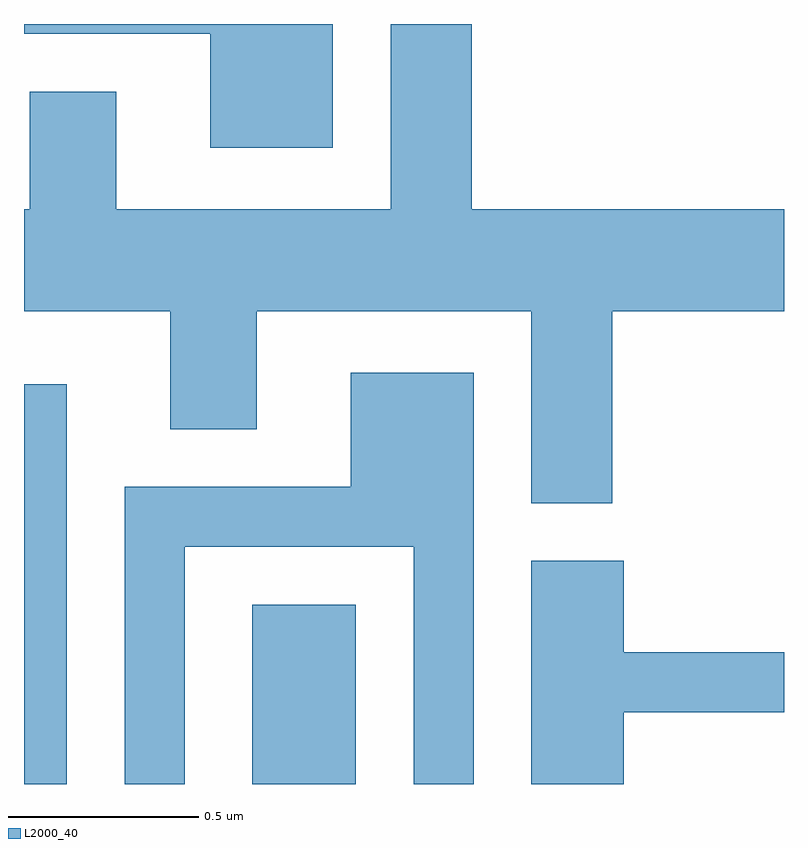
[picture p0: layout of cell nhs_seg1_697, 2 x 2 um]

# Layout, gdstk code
import gdstk
lib = gdstk.Library(unit=1e-6, precision=1e-09)
def R(c, l, rs):  # rectangles x0, y0, x1, y1
    for r in rs: c.add(gdstk.rectangle(r[:2], r[2:], *l))
def P(c, l, *ps):  # polygons
    for p in ps: c.add(gdstk.Polygon(p, *l))
L2000_40 = (2000, 40)

nhs_seg1_697 = lib.new_cell('nhs_seg1_697')
R(nhs_seg1_697, L2000_40, [(190.611,851.712,190.724,852.764), (191.211,851.712,191.484,852.184)])
P(nhs_seg1_697, L2000_40, [(192.159,852.956),(192.611,852.956),(192.611,853.224),(191.789,853.224),(191.789,853.712),(191.576,853.712),(191.576,853.224),(190.854,853.224),(190.854,853.534),(190.626,853.534),(190.626,853.224),(190.611,853.224),(190.611,852.956),(190.996,852.956),(190.996,852.646),(191.224,852.646),(191.224,852.956),(191.946,852.956),(191.946,852.451),(192.159,852.451)],
  [(191.424,853.712),(190.611,853.712),(190.611,853.686),(191.101,853.686),(191.101,853.386),(191.424,853.386)],
  [(191.034,852.336),(191.636,852.336),(191.636,851.712),(191.794,851.712),(191.794,852.794),(191.471,852.794),(191.471,852.494),(190.876,852.494),(190.876,851.712),(191.034,851.712)],
  [(192.189,851.901),(192.611,851.901),(192.611,852.059),(192.189,852.059),(192.189,852.299),(191.946,852.299),(191.946,851.712),(192.189,851.712)])

lib.write_gds('nhs_seg1_697.gds')
